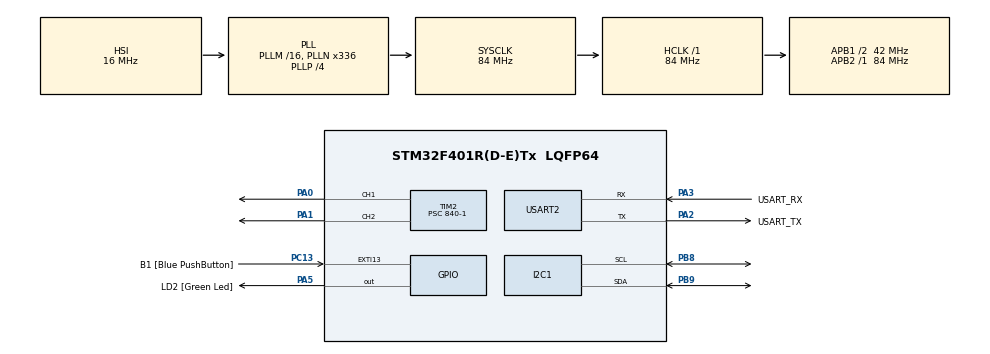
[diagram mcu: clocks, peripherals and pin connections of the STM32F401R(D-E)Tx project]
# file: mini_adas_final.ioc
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Mcu.Family=STM32F4
Mcu.Name=STM32F401R(D-E)Tx
Mcu.Package=LQFP64
NVIC.PriorityGroup=NVIC_PRIORITYGROUP_4
PA0-WKUP.Signal=S_TIM2_CH1_ETR
PA1.Signal=S_TIM2_CH2
PA13.GPIO_Label=TMS
PA13.Mode=Trace_Asynchronous_SW
PA13.Signal=SYS_JTMS-SWDIO
PA14.GPIO_Label=TCK
PA14.Mode=Trace_Asynchronous_SW
PA14.Signal=SYS_JTCK-SWCLK
PA2.GPIO_Label=USART_TX
PA2.GPIO_Mode=GPIO_MODE_AF_PP
PA2.GPIO_PuPd=GPIO_NOPULL
PA2.GPIO_Speed=GPIO_SPEED_FREQ_LOW
PA2.Mode=Asynchronous
PA2.Signal=USART2_TX
PA3.GPIO_Label=USART_RX
PA3.GPIO_Mode=GPIO_MODE_AF_PP
PA3.GPIO_PuPd=GPIO_NOPULL
PA3.GPIO_Speed=GPIO_SPEED_FREQ_LOW
PA3.Mode=Asynchronous
PA3.Signal=USART2_RX
PA5.GPIO_Label=LD2 [Green Led]
PA5.GPIO_Mode=GPIO_MODE_OUTPUT_PP
PA5.GPIO_PuPd=GPIO_NOPULL
PA5.GPIO_Speed=GPIO_SPEED_FREQ_LOW
PA5.Signal=GPIO_Output
PB3.GPIO_Label=SWO
PB3.Mode=Trace_Asynchronous_SW
PB3.Signal=SYS_JTDO-SWO
PB8.Mode=I2C
PB8.Signal=I2C1_SCL
PB9.Mode=I2C
PB9.Signal=I2C1_SDA
PC13-ANTI_TAMP.GPIO_Label=B1 [Blue PushButton]
PC13-ANTI_TAMP.GPIO_ModeDefaultEXTI=GPIO_MODE_IT_FALLING
PC13-ANTI_TAMP.GPIO_PuPd=GPIO_NOPULL
PC13-ANTI_TAMP.Signal=GPXTI13
PC14-OSC32_IN.Mode=LSE-External-Oscillator
PC14-OSC32_IN.Signal=RCC_OSC32_IN
PC15-OSC32_OUT.Mode=LSE-External-Oscillator
PC15-OSC32_OUT.Signal=RCC_OSC32_OUT
PH0\ -\ OSC_IN.Mode=HSE-External-Clock-Source
PH0\ -\ OSC_IN.Signal=RCC_OSC_IN
PH1\ -\ OSC_OUT.Mode=HSE-External-Clock-Source
PH1\ -\ OSC_OUT.Signal=RCC_OSC_OUT
ProjectManager.HeapSize=0x200
ProjectManager.StackSize=0x400
ProjectManager.TargetToolchain=STM32CubeIDE
RCC.48MHZClocksFreq_Value=48000000
RCC.AHBFreq_Value=84000000
RCC.APB1CLKDivider=RCC_HCLK_DIV2
RCC.APB1Freq_Value=42000000
RCC.APB1TimFreq_Value=84000000
RCC.APB2Freq_Value=84000000
RCC.APB2TimFreq_Value=84000000
RCC.CortexFreq_Value=84000000
RCC.HCLKFreq_Value=84000000
RCC.HSE_VALUE=8000000
RCC.HSI_VALUE=16000000
RCC.PLLN=336
RCC.PLLP=RCC_PLLP_DIV4
RCC.PLLQ=7
RCC.SYSCLKFreq_VALUE=84000000
RCC.SYSCLKSource=RCC_SYSCLKSOURCE_PLLCLK
RCC.VCOOutputFreq_Value=336000000
SH.S_TIM2_CH1_ETR.0=TIM2_CH1,PWM Generation1 CH1
SH.S_TIM2_CH2.0=TIM2_CH2,PWM Generation2 CH2
TIM2.Channel-PWM\ Generation1\ CH1=TIM_CHANNEL_1
TIM2.Channel-PWM\ Generation2\ CH2=TIM_CHANNEL_2
TIM2.Period=100-1
TIM2.Prescaler=840-1
USART2.VirtualMode=VM_ASYNC
VP_TIM2_VS_ClockSourceINT.Mode=Internal
board=NUCLEO-F401RE

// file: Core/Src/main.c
/* USER CODE BEGIN Header */
/**
  ******************************************************************************
  * @file           : main.c
  * @brief          : Main program body
  ******************************************************************************
  * @attention
  *
  * Copyright (c) 2026 STMicroelectronics.
  * All rights reserved.
  *
  * This software is licensed under terms that can be found in the LICENSE file
  * in the root directory of this software component.
  * If no LICENSE file comes with this software, it is provided AS-IS.
  *
  ******************************************************************************
  */
/* USER CODE END Header */
#include "main.h"
#include "i2c.h"
#include "tim.h"
#include "usart.h"
#include "gpio.h"

/* USER CODE BEGIN Includes */
#include <stdio.h>
#include "hcsr05.h"
#include <stdio.h>
#include "hcsr05.h"
#include "led.h"
#include "button.h"
#include "lcd.h"
#include "buzzer.h"
#include "motor.h"

/* USER CODE END Includes */

void SystemClock_Config(void);
/* USER CODE BEGIN PFP */
#ifdef __GNUC__
#define PUTCHAR_PROTOTYPE int __io_putchar(int ch)
#else
#define PUTCHAR_PROTOTYPE int fputc(int ch, FILE *f)
#endif

PUTCHAR_PROTOTYPE
{
  // Đẩy dữ liệu ra cổng USART2
  HAL_UART_Transmit(&huart2, (uint8_t *)&ch, 1, HAL_MAX_DELAY);
  return ch;
}
/* USER CODE END PFP */

int main(void)
{

  /* MCU Configuration--------------------------------------------------------*/

  /* Reset of all peripherals, Initializes the Flash interface and the Systick. */
  HAL_Init();

  /* Configure the system clock */
  SystemClock_Config();

  /* Initialize all configured peripherals */
  MX_GPIO_Init();
  MX_USART2_UART_Init();
  MX_I2C1_Init();
  MX_TIM2_Init();
  /* USER CODE BEGIN 2 */
  	HCSR05_Init();
    LED_Init();
    Button_Init();
    LCD_Init();
    Buzzer_Init();
    Motor_Init();

    uint8_t system_enable = 0;
    // GetTick
    // TÁCH LÀM 2 ĐỒNG HỒ BẤM GIỜ RIÊNG BIỆT
    uint32_t last_sensor_time = 0;
    uint32_t last_lcd_time = 0;
    float current_distance = 100.0f;

    printf("--- HE THONG SAN SANG. BAM B1 DE KHOI DONG ---\r\n");

    // In lời chào lúc mới cắm điện
    LCD_Clear();
    LCD_SetCursor(0, 2);
    LCD_PrintString("SYSTEM READY");
    LCD_SetCursor(1, 1);
    LCD_PrintString("Press B1 Start");
  /* USER CODE END 2 */

  /* Infinite loop */
  while (1)
  {

    /* USER CODE BEGIN 3 */
	  // 1. QUÉT NÚT BẤM B1 (Chống dội, bắt khoảnh khắc thả tay)
	        if (Button_IsPressedEvent() == 1U) {
	            system_enable = !system_enable;

	            if (system_enable == 1) {
	                printf("\r\n>>> HE THONG KICH HOAT <<<\r\n");
	                LCD_Clear();
	                LCD_SetCursor(0, 1);
	                LCD_PrintString("SYSTEM ACTIVE!");
	            } else {
	                printf("\r\n>>> HE THONG DA DUNG <<<\r\n");
	                LED_Off();
	                Buzzer_Off();
	                Motor_Stop(); // Ngắt điện mô-tơ ngay lập tức

	                LCD_Clear();
	                LCD_SetCursor(0, 1);
	                LCD_PrintString("SYSTEM HALTED.");
	                LCD_SetCursor(1, 0);
	                LCD_PrintString("Motor & LED off.");
	            }
	        }

	        // 2. KHI HỆ THỐNG HOẠT ĐỘNG
	        if (system_enable == 1) {

	            // Để còi tự do chạy theo khoảng cách (Non-blocking)
	            Buzzer_UpdateByDistance(current_distance);

	            // LUỒNG CẢM BIẾN & XỬ LÝ LOGIC (100ms)
	                      if (HAL_GetTick() - last_sensor_time >= 100) {
	                          last_sensor_time = HAL_GetTick();
	                          current_distance = HCSR05_ReadDistanceCm();

	                          // KỊCH BẢN ĐỘNG CƠ CÓ PHANH MỀM (SMOOTH BRAKING)
	                          if (current_distance < 0.0f || current_distance <= 10.0f) {
	                              // Vùng CRITICAL (<= 10cm): Phanh cứng ngắc
	                              LED_On();
	                              Motor_Stop();
	                          }
	                          else if (current_distance <= 50.0f) {
	                              // Vùng DANGER (10cm - 50cm): Giảm tốc độ tuyến tính
	                              LED_Off();

	                              // Đặt trần và đáy tốc độ
	                              float max_pwm = 75.0f; // Tốc độ lúc an toàn
	                              float min_pwm = 35.0f; // Ngưỡng chết máy của motor (thấp hơn số này bánh ko quay nổi)

	                              // Công thức ánh xạ (Map): Khoảng cách giảm thì PWM giảm theo
	                              float pwm_float = min_pwm + ((current_distance - 10.0f) * (max_pwm - min_pwm)) / (50.0f - 10.0f);
	                              uint8_t current_pwm = (uint8_t)pwm_float;

	                              // Bơm tốc độ đã tính toán vào 2 bánh
	                              Motor_Forward(current_pwm, current_pwm);
	                          }
	                          else {
	                              // Vùng SAFE/WARNING (>50cm): Phóng đều ở 75%
	                              LED_Off();
	                              Motor_Forward(75, 75);
	                          }
	                      }
	            // LUỒNG MÀN HÌNH LCD (500ms - Đã độn khoảng trắng chống bóng mờ)
	            if (HAL_GetTick() - last_lcd_time >= 500) {
	                last_lcd_time = HAL_GetTick();

	                if (current_distance < 0.0f) {
	                    LCD_DisplayADAS(-1.0f, "ERROR   ");
	                } else {
	                    if (current_distance >= 100.0f) {
	                        LCD_DisplayADAS(current_distance, "SAFE    ");
	                    } else if (current_distance >= 50.0f) {
	                        LCD_DisplayADAS(current_distance, "WARNING ");
	                    } else if (current_distance >= 10.0f) {
	                        LCD_DisplayADAS(current_distance, "DANGER  ");
	                    } else {
	                        LCD_DisplayADAS(current_distance, "CRITICAL");
	                    }
	                }
	            }
	        }
	    }
  /* USER CODE END 3 */
}

void SystemClock_Config(void)
{
  RCC_OscInitTypeDef RCC_OscInitStruct = {0};
  RCC_ClkInitTypeDef RCC_ClkInitStruct = {0};

  /** Configure the main internal regulator output voltage
  */
  __HAL_RCC_PWR_CLK_ENABLE();
  __HAL_PWR_VOLTAGESCALING_CONFIG(PWR_REGULATOR_VOLTAGE_SCALE2);

  /** Initializes the RCC Oscillators according to the specified parameters
  * in the RCC_OscInitTypeDef structure.
  */
  RCC_OscInitStruct.OscillatorType = RCC_OSCILLATORTYPE_HSI;
  RCC_OscInitStruct.HSIState = RCC_HSI_ON;
  RCC_OscInitStruct.HSICalibrationValue = RCC_HSICALIBRATION_DEFAULT;
  RCC_OscInitStruct.PLL.PLLState = RCC_PLL_ON;
  RCC_OscInitStruct.PLL.PLLSource = RCC_PLLSOURCE_HSI;
  RCC_OscInitStruct.PLL.PLLM = 16;
  RCC_OscInitStruct.PLL.PLLN = 336;
  RCC_OscInitStruct.PLL.PLLP = RCC_PLLP_DIV4;
  RCC_OscInitStruct.PLL.PLLQ = 7;
  if (HAL_RCC_OscConfig(&RCC_OscInitStruct) != HAL_OK)
  {
    Error_Handler();
  }

  /** Initializes the CPU, AHB and APB buses clocks
  */
  RCC_ClkInitStruct.ClockType = RCC_CLOCKTYPE_HCLK|RCC_CLOCKTYPE_SYSCLK
                              |RCC_CLOCKTYPE_PCLK1|RCC_CLOCKTYPE_PCLK2;
  RCC_ClkInitStruct.SYSCLKSource = RCC_SYSCLKSOURCE_PLLCLK;
  RCC_ClkInitStruct.AHBCLKDivider = RCC_SYSCLK_DIV1;
  RCC_ClkInitStruct.APB1CLKDivider = RCC_HCLK_DIV2;
  RCC_ClkInitStruct.APB2CLKDivider = RCC_HCLK_DIV1;

  if (HAL_RCC_ClockConfig(&RCC_ClkInitStruct, FLASH_LATENCY_2) != HAL_OK)
  {
    Error_Handler();
  }
}

void Error_Handler(void)
{
  __disable_irq();
  while (1)
  {
  }
}
